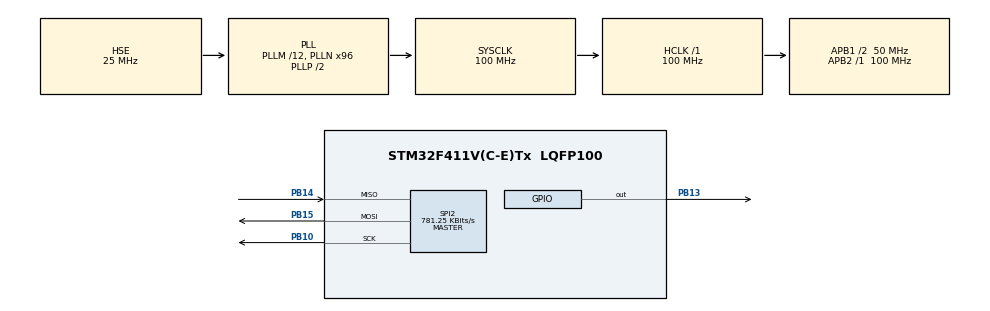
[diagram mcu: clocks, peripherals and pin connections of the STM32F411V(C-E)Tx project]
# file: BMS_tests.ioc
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Mcu.Family=STM32F4
Mcu.Name=STM32F411V(C-E)Tx
Mcu.Package=LQFP100
NVIC.PriorityGroup=NVIC_PRIORITYGROUP_4
PB10.Mode=Full_Duplex_Master
PB10.Signal=SPI2_SCK
PB13.GPIO_PuPd=GPIO_PULLUP
PB13.GPIO_Speed=GPIO_SPEED_FREQ_VERY_HIGH
PB13.PinState=GPIO_PIN_SET
PB13.Signal=GPIO_Output
PB14.Mode=Full_Duplex_Master
PB14.Signal=SPI2_MISO
PB15.Mode=Full_Duplex_Master
PB15.Signal=SPI2_MOSI
PH0\ -\ OSC_IN.Mode=HSE-External-Oscillator
PH0\ -\ OSC_IN.Signal=RCC_OSC_IN
PH1\ -\ OSC_OUT.Mode=HSE-External-Oscillator
PH1\ -\ OSC_OUT.Signal=RCC_OSC_OUT
ProjectManager.HeapSize=0x200
ProjectManager.StackSize=0x400
ProjectManager.TargetToolchain=STM32CubeIDE
RCC.48MHZClocksFreq_Value=50000000
RCC.AHBFreq_Value=100000000
RCC.APB1CLKDivider=RCC_HCLK_DIV2
RCC.APB1Freq_Value=50000000
RCC.APB1TimFreq_Value=100000000
RCC.APB2Freq_Value=100000000
RCC.APB2TimFreq_Value=100000000
RCC.CortexFreq_Value=100000000
RCC.HCLKFreq_Value=100000000
RCC.HSE_VALUE=25000000
RCC.HSI_VALUE=16000000
RCC.LSE_VALUE=32768
RCC.PLLM=12
RCC.PLLN=96
RCC.PLLSourceVirtual=RCC_PLLSOURCE_HSE
RCC.SYSCLKFreq_VALUE=100000000
RCC.SYSCLKSource=RCC_SYSCLKSOURCE_PLLCLK
RCC.VCOOutputFreq_Value=200000000
SPI2.BaudRatePrescaler=SPI_BAUDRATEPRESCALER_64
SPI2.CLKPolarity=SPI_POLARITY_LOW
SPI2.CRCCalculation=SPI_CRCCALCULATION_DISABLE
SPI2.CalculateBaudRate=781.25 KBits/s
SPI2.Direction=SPI_DIRECTION_2LINES
SPI2.FirstBit=SPI_FIRSTBIT_MSB
SPI2.Mode=SPI_MODE_MASTER
SPI2.VirtualType=VM_MASTER
board=custom

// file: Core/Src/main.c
/* USER CODE BEGIN Header */
/**
  ******************************************************************************
  * @file           : main.c
  * @brief          : Main program body
  ******************************************************************************
  * @attention
  *
  * <h2><center>&copy; Copyright (c) 2022 STMicroelectronics.
  * All rights reserved.</center></h2>
  *
  * This software component is licensed by ST under BSD 3-Clause license,
  * the "License"; You may not use this file except in compliance with the
  * License. You may obtain a copy of the License at:
  *                        opensource.org/licenses/BSD-3-Clause
  *
  ******************************************************************************
  */
/* USER CODE END Header */
#include "main.h"

/* USER CODE BEGIN Includes */
#include "math.h"
#include "string.h"
#include "stdbool.h"
/* USER CODE END Includes */

/* USER CODE BEGIN PD */
#define SEED_VALUE    0x38
#define CRC_LENGTH     6
#define FRAME_LENGTH  40
#define POLYNOM     0x59
/* USER CODE END PD */

SPI_HandleTypeDef hspi2;

/* USER CODE BEGIN PV */

HAL_StatusTypeDef status;
uint8_t dummy = 0;
static uint8_t response_arr[5];
uint8_t burst_response_arr[95];
const uint8_t crcTable[] = {
      0, 100, 200, 172, 244, 144,  60,  88, 140, 232,  68,  32, 120,  28, 176, 212,
    124,  24, 180, 208, 136, 236,  64,  36, 240, 148,  56,  92,   4,  96, 204, 168,
    248, 156,  48,  84,  12, 104, 196, 160, 116,  16, 188, 216, 128, 228,  72,  44,
    132, 224,  76,  40, 112,  20, 184, 220,   8, 108, 192, 164, 252, 152,  52,  80,
    148, 240,  92,  56,  96,   4, 168, 204,  24, 124, 208, 180, 236, 136,  36,  64,
    232, 140,  32,  68,  28, 120, 212, 176, 100,   0, 172, 200, 144, 244,  88,  60,
    108,   8, 164, 192, 152, 252,  80,  52, 224, 132,  40,  76,  20, 112, 220, 184,
     16, 116, 216, 188, 228, 128,  44,  72, 156, 248,  84,  48, 104,  12, 160, 196,
     76,  40, 132, 224, 184, 220, 112,  20, 192, 164,   8, 108,  52,  80, 252, 152,
     48,  84, 248, 156, 196, 160,  12, 104, 188, 216, 116,  16,  72,  44, 128, 228,
    180, 208, 124,  24,  64,  36, 136, 236,  56,  92, 240, 148, 204, 168,   4,  96,
    200, 172,   0, 100,  60,  88, 244, 144,  68,  32, 140, 232, 176, 212, 120,  28,
    216, 188,  16, 116,  44,  72, 228, 128,  84,  48, 156, 248, 160, 196, 104,  12,
    164, 192, 108,   8,  80,  52, 152, 252,  40,  76, 224, 132, 220, 184,  20, 112,
     32,  68, 232, 140, 212, 176,  28, 120, 172, 200, 100,   0,  88,  60, 144, 244,
     92,  56, 148, 240, 168, 204,  96,   4, 208, 180,  24, 124,  36,  64, 236, 136
};

uint8_t VCELL_EN[15], d_rdy_Vcell[15], vsum_batt1_0, data_ready_vsum, data_ready_v_battdiv, SOC, OVR_LATCH, CONF_CYCLIC_EN,
		DUTY_ON, VSUM_OV, VSUM_UV, TimedBalacc, TimedBalTimer, bal_on, eof_bal, OVR_LATCH, TCYCLE_OVFm,  sense_plus_open,
		sense_minus_open,  Otchip,  VANA_OV,  VDIG_OV,  VTREF_UV,  VTREF_OV,  VREG_UV,  VREG_OV, VCOM_OV, VCOM_UV,  wu_gpio7,
		wu_spi, wu_isoline,  wu_faulth,  wu_cyc_wup, loss_agnd, loss_dgnd, loss_cgnd, loss_gndref, TrimmCalOk,CoCouOvF,
		EoBtimeerror, GPI_fastchg_OT[10], GPI_OPEN[10],VBAT_COMP_BIST_FAIL, VREG_COMP_BIST_FAIL, VCOM_COMP_BIST_FAIL,
		VTREF_COMP_BIST_FAIL, BAL_SHORT[15], EEPROM_CRC_ERR_CAL_FF, EEPROM_DWNLD_DONE, HWSC_DONE,  VBAT_OPEN,  CELL_OPEN[15], EEPROM_CRC_ERR_SECT_0,
		Comm_timeout_flt, EEPROM_CRC_ERR_CAL_RAM, RAM_CRC_ERR, VCELL_UV[15], VBATT_WRN_OV, VBATT_WRN_UV, VBATTCRIT_UV, VSUM_UV,
		VCELL_OV[15], bal_on, eof_bal, VBATTCRIT_OV, VSUM_OV, GPIO_OT[10], GPIO_UT[10], GPOon[10], VCELL_BAL_UV[15],
		Fault_L_line_status, GPOshort[10], GPIO_BIST_FAIL, HeartBeat_fault, FaultHline_fault, FaultH_EN, HeartBeat_En,
		curr_sense_ovc_norm, OSCFail, clk_mon_en, clk_mon_init_done, CoulombCounter_en, CoCouOvF, curr_sense_ovc_sleep,
		GPIO3_OT, d_rdy_gpio3, GPIO4_OT, d_rdy_gpio4, GPIO5_OT, d_rdy_gpio5, GPIO6_OT, d_rdy_gpio6, GPIO7_OT, d_rdy_gpio7,
		GPIO8_OT, d_rdy_gpio8, GPIO9_OT, d_rdy_gpio9, TrimmCalOk, d_rdy_vtref, GPIO3_UT, GPIO4_UT, GPIO5_UT, GPIO6_UT, GPIO7_UT,
		GPIO8_UT, GPIO9_UT, bal_on, eof_bal, OTchip, TempChip, BAL_OPEN[15];

uint16_t VCell[15], VBATT_DIV, MUX_BIST_FAIL, HeartBeatCycle, BIST_BAL_COMP_HS_FAIL, BIST_BAL_COMP_LS_FAIL,
		 OPEN_BIST_FAIL, CoulombCntTime, CoulombCounter_msb, CoulombCounter_lsb, GPIO4_MEAS,
		 GPIO3_MEAS, GPIO5_MEAS, GPIO6_MEAS, GPIO7_MEAS, GPIO8_MEAS, GPIO9_MEAS, VTREF_MEAS;
uint32_t vsum_batt19_2, CUR_INST_calib, CUR_INST_synch, CUR_INST_calib;

/* USER CODE END PV */

void SystemClock_Config(void);
static void MX_GPIO_Init(void);
static void MX_SPI2_Init(void);
/* USER CODE BEGIN PFP */
void L9963_CrcCalc8bitLookupTab (uint64_t *);
uint16_t L9963_CrcVer8bitLookupTab (uint64_t *);
void readBurst0x78 (void);
void readBurst0x7A (void);
void readBurst0x7B (void);
void singleFrameTransaction(char *,char *,char *,char *,char *,char *, bool);
void configRegADCV_CONV(char *,char *,char *,char *,char *,char *,char *,char *,char *,char *,char *);
void configRegNCYCLE_PROG_1(char *,char *,char *,char *,char *,char *,char *,char *,char *,char *);
void configRegNCYCLE_PROG_2(char *,char *,char *,char *,char *,char *,char *);
void balanceCells();
/* USER CODE END PFP */

int main(void)
{
  /* USER CODE BEGIN 1 */
	HAL_GPIO_WritePin(GPIOB, GPIO_PIN_13, GPIO_PIN_SET);
  /* USER CODE END 1 */

  /* MCU Configuration--------------------------------------------------------*/

  /* Reset of all peripherals, Initializes the Flash interface and the Systick. */
  HAL_Init();

  /* Configure the system clock */
  SystemClock_Config();

  /* Initialize all configured peripherals */
  MX_GPIO_Init();
  MX_SPI2_Init();

  /* Infinite loop */
  /* USER CODE BEGIN WHILE */
  while (1)
  {
	  //---------------------------SLEEP-----------------------------------------

	  singleFrameTransaction("1","0","00000","0000000","00","000000000000000000",false);
	  /*
	  char PA[2] = "1"; // 0 = MISO answer ; 1 = MOSI command
	  char RW[2] = "0"; // 0 = read ; 1 = write
	  char DevID[6] = "00000";
	  char Addr[8] = "0000000";
	  char GSW[3] = "00"; // 0x = ok ; 1x = internal failure detected
	  char data[19] = "000000000000000000"; //VCELL_EN 1,2,13,14
	  char CRC_code[7]="000000";
	  char frame[41];
	  char frame_a[41];

	  strcpy(frame, PA);
	  strcat(frame,RW);
	  strcat(frame,DevID);
	  strcat(frame,Addr);
	  strcat(frame,GSW);
	  strcat(frame,data);
	  strcat(frame,CRC_code);
	  strcpy(frame_a,frame);
	  uint8_t command_data_arr[5];

	  for (int i=0;i<5;i++){
	     command_data_arr[i]=0;
	     for(int j=7;j>=0;j--){
	         if(frame_a[i*8+j]=='1')
	            command_data_arr[i]=command_data_arr[i] + pow(2,7-j);
	         }
	  }

	  uint64_t command_data = 0;
	  for (int i=39;i>=0;i--){
		  command_data = command_data + (frame[i]-48)*pow(2,39-i);
	  }
	  L9963_CrcCalc8bitLookupTab(&command_data);
	  command_data_arr[4]=command_data_arr[4] | (uint8_t)(command_data & 0b00111111);

	  HAL_GPIO_WritePin(GPIOB, GPIO_PIN_13, GPIO_PIN_RESET); // NCS low
	  status = HAL_SPI_TransmitReceive(&hspi2, command_data_arr, response_arr, 5, HAL_MAX_DELAY);
	  while(HAL_SPI_GetState(&hspi2) != HAL_SPI_STATE_READY){};	//wait for transaction to end
	  //HAL_Delay(5);
	  HAL_GPIO_WritePin(GPIOB, GPIO_PIN_13, GPIO_PIN_SET); // NCS High
	  */

	  //------------------------------INIT---------------------------------------------------
	  singleFrameTransaction("1","1","00000","0000001","00","000010000000000010",false);

	  //--------------------------NORMAL--------------------------------------------
	  // READ DEV_GEN_CFG:
	  singleFrameTransaction("1","0","00001","0000001","00","000000000000000000",true);
	  dummy+=1;
	  // ENABLE CELLS:
	  singleFrameTransaction("1","1","00001","0011100","00","000011000000000011",true);
	  dummy+=1;

	  // PERFORM CYCLIC ADC VOLTAGE CONVERSION:

	  configRegNCYCLE_PROG_1("10","000","000","000","1","1","1","0","0","0");
	  dummy+=1;
	  configRegNCYCLE_PROG_2("1","0","000","000","001","011","001");
	  dummy+=1;
	  configRegADCV_CONV("0","0","0","000","0","0","0","0","0","011","1");
	  dummy+=1;
	  configRegADCV_CONV("0","0","1","000","0","0","0","0","0","011","1");
	  dummy+=1;

	  /*
	  singleFrameTransaction("1","1","00001","0001110","00","010000000000010000",true);
	  dummy+=1;
	  singleFrameTransaction("1","1","00001","0001111","00","100000000000000000",true);
	  dummy+=1;
	  	  */

	  while(1){
	  // READ BURSTS
	  HAL_Delay(1000);
	  readBurst0x78();
	  readBurst0x7A();
	  readBurst0x7B();
	  //configRegADCV_CONV("0","1","1","000","0","0","0","0","0","011","1");
	  dummy+=1; // <--optional breakpoint here
};
    /* USER CODE END WHILE */

  }
}

void SystemClock_Config(void)
{
  RCC_OscInitTypeDef RCC_OscInitStruct = {0};
  RCC_ClkInitTypeDef RCC_ClkInitStruct = {0};

  /** Configure the main internal regulator output voltage
  */
  __HAL_RCC_PWR_CLK_ENABLE();
  __HAL_PWR_VOLTAGESCALING_CONFIG(PWR_REGULATOR_VOLTAGE_SCALE1);
  /** Initializes the RCC Oscillators according to the specified parameters
  * in the RCC_OscInitTypeDef structure.
  */
  RCC_OscInitStruct.OscillatorType = RCC_OSCILLATORTYPE_HSE;
  RCC_OscInitStruct.HSEState = RCC_HSE_ON;
  RCC_OscInitStruct.PLL.PLLState = RCC_PLL_ON;
  RCC_OscInitStruct.PLL.PLLSource = RCC_PLLSOURCE_HSE;
  RCC_OscInitStruct.PLL.PLLM = 12;
  RCC_OscInitStruct.PLL.PLLN = 96;
  RCC_OscInitStruct.PLL.PLLP = RCC_PLLP_DIV2;
  RCC_OscInitStruct.PLL.PLLQ = 4;
  if (HAL_RCC_OscConfig(&RCC_OscInitStruct) != HAL_OK)
  {
    Error_Handler();
  }
  /** Initializes the CPU, AHB and APB buses clocks
  */
  RCC_ClkInitStruct.ClockType = RCC_CLOCKTYPE_HCLK|RCC_CLOCKTYPE_SYSCLK
                              |RCC_CLOCKTYPE_PCLK1|RCC_CLOCKTYPE_PCLK2;
  RCC_ClkInitStruct.SYSCLKSource = RCC_SYSCLKSOURCE_PLLCLK;
  RCC_ClkInitStruct.AHBCLKDivider = RCC_SYSCLK_DIV1;
  RCC_ClkInitStruct.APB1CLKDivider = RCC_HCLK_DIV2;
  RCC_ClkInitStruct.APB2CLKDivider = RCC_HCLK_DIV1;

  if (HAL_RCC_ClockConfig(&RCC_ClkInitStruct, FLASH_LATENCY_3) != HAL_OK)
  {
    Error_Handler();
  }
}

static void MX_SPI2_Init(void)
{

  /* SPI2 parameter configuration*/
  hspi2.Instance = SPI2;
  hspi2.Init.Mode = SPI_MODE_MASTER;
  hspi2.Init.Direction = SPI_DIRECTION_2LINES;
  hspi2.Init.DataSize = SPI_DATASIZE_8BIT;
  hspi2.Init.CLKPolarity = SPI_POLARITY_LOW;
  hspi2.Init.CLKPhase = SPI_PHASE_1EDGE;
  hspi2.Init.NSS = SPI_NSS_SOFT;
  hspi2.Init.BaudRatePrescaler = SPI_BAUDRATEPRESCALER_64;
  hspi2.Init.FirstBit = SPI_FIRSTBIT_MSB;
  hspi2.Init.TIMode = SPI_TIMODE_DISABLE;
  hspi2.Init.CRCCalculation = SPI_CRCCALCULATION_DISABLE;
  hspi2.Init.CRCPolynomial = 10;
  if (HAL_SPI_Init(&hspi2) != HAL_OK)
  {
    Error_Handler();
  }

}

static void MX_GPIO_Init(void)
{
  GPIO_InitTypeDef GPIO_InitStruct = {0};

  /* GPIO Ports Clock Enable */
  __HAL_RCC_GPIOH_CLK_ENABLE();
  __HAL_RCC_GPIOB_CLK_ENABLE();

  /*Configure GPIO pin Output Level */
  HAL_GPIO_WritePin(GPIOB, GPIO_PIN_13, GPIO_PIN_SET);

  /*Configure GPIO pin : PB13 */
  GPIO_InitStruct.Pin = GPIO_PIN_13;
  GPIO_InitStruct.Mode = GPIO_MODE_OUTPUT_PP;
  GPIO_InitStruct.Pull = GPIO_PULLUP;
  GPIO_InitStruct.Speed = GPIO_SPEED_FREQ_VERY_HIGH;
  HAL_GPIO_Init(GPIOB, &GPIO_InitStruct);

}

/* USER CODE BEGIN 4 */

void singleFrameTransaction(char PA[],char RW[],char DevID[],char Addr[],char GSW[],char data[], bool acquireResponse){
	  char frame[41];char CRC_code[7]="000000";
	  strcpy(frame, PA);
	  strcat(frame,RW);
	  strcat(frame,DevID);
	  strcat(frame,Addr);
	  strcat(frame,GSW);
	  strcat(frame,data);
	  strcat(frame,CRC_code);
	  uint8_t command_data_arr[5];

	  for (int i=0;i<5;i++){
	     command_data_arr[i]=0;
	     for(int j=7;j>=0;j--){
	         if(frame[i*8+j]=='1')
	            command_data_arr[i]=command_data_arr[i] + pow(2,7-j);
	         }
	  }

	  uint64_t command_data = 0;
	  for (int i=39;i>=0;i--){
		  command_data = command_data + (frame[i]-48)*pow(2,39-i);
	  }
	  L9963_CrcCalc8bitLookupTab(&command_data);
	  command_data_arr[4]=command_data_arr[4] | (uint8_t)(command_data & 0b00111111);

	  HAL_GPIO_WritePin(GPIOB, GPIO_PIN_13, GPIO_PIN_RESET); // NCS low
	  status = HAL_SPI_TransmitReceive(&hspi2, command_data_arr, response_arr, 5, HAL_MAX_DELAY);
	  while(HAL_SPI_GetState(&hspi2) != HAL_SPI_STATE_READY){};	//wait for transaction to end
	  HAL_GPIO_WritePin(GPIOB, GPIO_PIN_13, GPIO_PIN_SET); // NCS High

	  if(acquireResponse){
		  //use dummy command (read DEV_GEN_CFG reg) to acquire the out of frame response to the previous command
		  command_data_arr[0]=0b10000010;
		  command_data_arr[1]=0b00000100;
		  command_data_arr[2]=0b00000000;
		  command_data_arr[3]=0b00000000;
		  command_data_arr[4]=0b00010111;

		  HAL_GPIO_WritePin(GPIOB, GPIO_PIN_13, GPIO_PIN_RESET); // NCS low
		  status = HAL_SPI_TransmitReceive(&hspi2, command_data_arr, response_arr, 5, HAL_MAX_DELAY);
		  while(HAL_SPI_GetState(&hspi2) != HAL_SPI_STATE_READY){};	//wait for transaction to end
		  HAL_GPIO_WritePin(GPIOB, GPIO_PIN_13, GPIO_PIN_SET); // NCS High
	  }
}

void configRegADCV_CONV(char ADC_CROSS_CHECK[],char SOC[],char CONF_CYCLIC_EN[],char ADC_FILTER_SOC[],char GPIO_CONV[],
		char GPIO_TERM_CONV[],char CELL_TERM_CONV[],char BAL_TERM_CONV[],char HWSC[],char TCYCLE[],char CYCLIC_CONTINOUS[]){
	char data[19];
	strcpy(data,ADC_CROSS_CHECK);
	strcat(data,"0"); //TCYCLE_OVF
	strcat(data,SOC);
	strcat(data,"0"); //OVR_LATCH
	strcat(data,CONF_CYCLIC_EN);
	strcat(data,"0"); //DUTY_ON
	strcat(data,ADC_FILTER_SOC);
	strcat(data,GPIO_CONV);
	strcat(data,GPIO_TERM_CONV);
	strcat(data,CELL_TERM_CONV);
	strcat(data,BAL_TERM_CONV);
	strcat(data,HWSC);
	strcat(data,TCYCLE);
	strcat(data,CYCLIC_CONTINOUS);

	singleFrameTransaction("1","1","00001","0001101","00",data,true);

}

void configRegNCYCLE_PROG_1(char T_CELL_SET[],char NCYCLE_GPIO_TERM[],char NCYCLE_CELL_TERM[],char NCYCLE_BAL_TERM[],char BAL_TIM_AUTO_PAUSE[],
		char BAL_AUTO_PAUSE[],char CYCLIC_UPDATE[], char CROSS_ODD_EVEN_CELL[], char PCB_open_en_odd_curr[], char PCB_open_en_even_curr[]){
	char data[19];
	strcpy(data,T_CELL_SET);
	strcat(data,NCYCLE_GPIO_TERM);
	strcat(data,NCYCLE_CELL_TERM);
	strcat(data,NCYCLE_BAL_TERM);
	strcat(data,BAL_TIM_AUTO_PAUSE);
	strcat(data,BAL_AUTO_PAUSE);
	strcat(data,CYCLIC_UPDATE);
	strcat(data,CROSS_ODD_EVEN_CELL);
	strcat(data,PCB_open_en_odd_curr);
	strcat(data,PCB_open_en_even_curr);
	strcat(data,"0"); //NOREG0

	singleFrameTransaction("1","1","00001","0001110","00",data,true);
}

void configRegNCYCLE_PROG_2(char VTREF_EN[],char VTREF_DYN_EN[],char NCYCLE_GPIO[],char NCYCLE_HWSC[], char ADC_FILTER_CYCLE[], char TCYCLE_SLEEP[],
		char ADC_FILTER_SLEEP[]){
	char data[19];
	strcpy(data,VTREF_EN);
	strcat(data,VTREF_DYN_EN);
	strcat(data,NCYCLE_GPIO);
	strcat(data,NCYCLE_HWSC);
	strcat(data,"0"); //NOREG9
	strcat(data,ADC_FILTER_CYCLE);
	strcat(data,TCYCLE_SLEEP);
	strcat(data,ADC_FILTER_SLEEP);

	singleFrameTransaction("1","1","00001","0001111","00",data,true);
}

void readBurst0x78 (){
	//FOR VOLTAGE CONVERSIONS CHECK DOCUMENTATION -> TABLE 4.5.2

	uint8_t command_data_arr[5]; //initial burst command data to be sent by MCU, 8 bit array form
	uint64_t command_data = 0; //initial burst command data to be sent by MCU
	uint8_t nofFrames = 18; //number of frames received from burst command
	uint8_t data_burst_arr[nofFrames*5]; //dummy data sent by MCU during burst frame receival
	for(int i=0;i<nofFrames*5;i++) data_burst_arr[i]=0; //all zeroes as per manufacturer documentation
	data_burst_arr[nofFrames*5-5]=0b10000010;
	data_burst_arr[nofFrames*5-4]=0b00000100;
	data_burst_arr[nofFrames*5-3]=0b00000000;
	data_burst_arr[nofFrames*5-2]=0b00000000;
	data_burst_arr[nofFrames*5-1]=0b00010111;
	uint8_t burst_response_arr[nofFrames*5]; // data received by MCU during burst response

	char PA[2] = "1"; // 0 = MISO answer ; 1 = MOSI command
    char RW[2] = "0"; // 0 = read ; 1 = write
    char DevID[6] = "00001";
	char Addr[8] = "1111000"; 	// 0x78 burst command
	char GSW[3] = "00"; // 0x = ok ; 1x = internal failure detected
	char data[19] = "111111111111111111";
	char CRC_code[7] = "000000";
	char frame[41];

	strcpy(frame, PA);
	strcat(frame,RW);
	strcat(frame,DevID);
	strcat(frame,Addr);
	strcat(frame,GSW);
	strcat(frame,data);
	strcat(frame,CRC_code);

    //convert char array to 8 bit number array:
    for (int i=4;i>=0;i--){
    	command_data_arr[i]=0;
    	for(int j=7;j>=0;j--){
    		command_data_arr[i]=command_data_arr[i] + (frame[i*8+j]-48)*pow(2,7-j);
    	}
    }
    //convert char array to number:
    for (int i=39;i>=0;i--){
    	command_data = command_data + (frame[i]-48)*pow(2,39-i);
    }

    L9963_CrcCalc8bitLookupTab(&command_data); //compute CRC for command
    command_data_arr[4]=command_data_arr[4] | (uint8_t)(command_data & 0b00111111);

    uint8_t nOfTrials = 0;
    TRANSACTION: //for goto instruction in case there is a problem with sent/received data
	nOfTrials+=1;

    HAL_GPIO_WritePin(GPIOB, GPIO_PIN_13, GPIO_PIN_RESET); // NCS low
    status = HAL_SPI_TransmitReceive(&hspi2, command_data_arr, response_arr, 5, HAL_MAX_DELAY);
    while(HAL_SPI_GetState(&hspi2) != HAL_SPI_STATE_READY){};	//wait for transaction to end
    HAL_GPIO_WritePin(GPIOB, GPIO_PIN_13, GPIO_PIN_SET); // NCS High

    HAL_Delay(4);

    HAL_GPIO_WritePin(GPIOB, GPIO_PIN_13, GPIO_PIN_RESET); // NCS low
    status = HAL_SPI_TransmitReceive(&hspi2, data_burst_arr, burst_response_arr, nofFrames*5, HAL_MAX_DELAY);
    while(HAL_SPI_GetState(&hspi2) != HAL_SPI_STATE_READY){};	//wait for transaction to end
    HAL_GPIO_WritePin(GPIOB, GPIO_PIN_13, GPIO_PIN_SET); // NCS High

    uint64_t frame_check = ((uint64_t)burst_response_arr[0]<<32) | ((uint64_t)burst_response_arr[1]<<24)|
    					   ((uint64_t)burst_response_arr[2]<<16) | ((uint64_t)burst_response_arr[3]<<8) | (uint64_t)burst_response_arr[4];

    //check first frame (for special frames - documentation 4.2.4.4)
    if((frame_check == 0xC1FCFFFD08 || //CRC error frame
        frame_check == 0xC1FCFFFCDE || //Busy frame
	    frame_check == 0xC1FCFFFC87 || //Timeout frame
	   frame_check == 0xC1FCFFFC6C) && //Not Expected frame
	   nOfTrials<10)
    goto TRANSACTION; //repeat process in case of error

    //check CRC for every frame from burst response:
    for(int i=0; i<nofFrames; i++){
    	frame_check = ((uint64_t)burst_response_arr[0]<<32) | ((uint64_t)burst_response_arr[1]<<24)|
    	    		  ((uint64_t)burst_response_arr[2]<<16) | ((uint64_t)burst_response_arr[3]<<8) | (uint64_t)burst_response_arr[4];
    	if(L9963_CrcVer8bitLookupTab(&frame_check)==0 && nOfTrials<10) goto TRANSACTION; //repeat process in case of error
    }

    /*
    "burst_response_arr" is an 8bit array containing all the burst_response_arr received from a burst command,
    stored as bytes one after the other
    example: 0x78 command --> 18 burst_response_arr response --> 720 bits/90 bytes
            frame 1: burst_response_arr[0] --> burst_response_arr[4]
            frame 1 actual data: burst_response_arr[2] (bit 17->bit 10), burst_response_arr[3] (bit 9->bit 2),
                                 first 2 MSB's of burst_response_arr[4] (bit 1->bit 0)
            frame 2: burst_response_arr[5] --> burst_response_arr[9]
            frame 2 actual data: burst_response_arr[7], burst_response_arr[8], first 2 MSB's of burst_response_arr[9]
            .
            .
            .
            frame 18: burst_response_arr[85] --> burst_response_arr[89]
            frame 18 actual data: frame[87],frame[88], first 2 MSB's of burst_response_arr[89]
    */
    for(int i=1;i<=14;i++){
        VCELL_EN[i]=burst_response_arr[(i-1)*5+2] >> 7;

        d_rdy_Vcell[i]=(burst_response_arr[(i-1)*5+2] >> 6) & 1; //&0b00000001, extract only LSB

        VCell[i]=(((burst_response_arr[(i-1)*5+2] & 0b00111111) << 8) | burst_response_arr[(i-1)*5+3]) << 2
                    | (burst_response_arr[(i-1)*5+4]>>6);
    }

    vsum_batt19_2 = (((burst_response_arr[(15-1)*5+2] << 8) | burst_response_arr[(15-1)*5+3]) << 2) | (burst_response_arr[(15-1)*5+4]>>6);

    vsum_batt1_0 = burst_response_arr[(16-1)*5+2] >> 6;
    VBATT_DIV = (((burst_response_arr[(16-1)*5+2] & 0b00111111) << 8 ) | burst_response_arr[(16-1)*5+3]) << 2 | (burst_response_arr[(16-1)*5+4]>>6);

    data_ready_vsum = burst_response_arr[(17-1)*5+2] >>7;
    data_ready_v_battdiv = (burst_response_arr[(17-1)*5+2] >> 6) & 1;
    SOC = (burst_response_arr[(17-1)*5+2] >> 5) & 1;
    OVR_LATCH = (burst_response_arr[(17-1)*5+2] >> 4) & 1;
    CONF_CYCLIC_EN = (burst_response_arr[(17-1)*5+2] >> 3) & 1;
    DUTY_ON = (burst_response_arr[(17-1)*5+2] >> 2) & 1;
    VSUM_OV = (burst_response_arr[(17-1)*5+2] >> 1) & 1;
    VSUM_UV = burst_response_arr[(17-1)*5+2]  & 1;
    TimedBalacc = burst_response_arr[(17-1)*5+3] >> 7;
    TimedBalTimer = burst_response_arr[(17-1)*5+3] & 0b01111111;
    bal_on = burst_response_arr[(17-1)*5+4] >> 7;
    eof_bal = (burst_response_arr[(17-1)*5+4] >> 6) & 1;

    CUR_INST_calib = (((burst_response_arr[(18-1)*5+2] <<8) | burst_response_arr[(18-1)*5+3]) << 2) | (burst_response_arr[(18-1)*5+4]>>6);

}

void readBurst0x7A (){
	uint8_t command_data_arr[5]; //initial burst command data to be sent by MCU, 8 bit array form
	uint64_t command_data = 0; //initial burst command data to be sent by MCU
	uint8_t nofFrames = 13; //number of frames received from burst command
	uint8_t data_burst_arr[nofFrames*5]; //dummy data sent by MCU during burst frame receival
	for(int i=0;i<nofFrames*5;i++) data_burst_arr[i]=0; //all zeroes as per manufacturer documentation
	data_burst_arr[nofFrames*5-5]=0b10000010;
	data_burst_arr[nofFrames*5-4]=0b00000100;
	data_burst_arr[nofFrames*5-3]=0b00000000;
	data_burst_arr[nofFrames*5-2]=0b00000000;
	data_burst_arr[nofFrames*5-1]=0b00010111;
	uint8_t burst_response_arr[nofFrames*5]; // data received by MCU during burst response

	char PA[2] = "1"; // 0 = MISO answer ; 1 = MOSI command
    char RW[2] = "0"; // 0 = read ; 1 = write
    char DevID[6] = "00001";
	char Addr[8] = "1111010"; 	// 0x7A burst command
	char GSW[3] = "00"; // 0x = ok ; 1x = internal failure detected
	char data[19] = "111111111111111111";
	char CRC_code[7] = "000000";
	char frame[41];

	strcpy(frame, PA);
	strcat(frame,RW);
	strcat(frame,DevID);
	strcat(frame,Addr);
	strcat(frame,GSW);
	strcat(frame,data);
	strcat(frame,CRC_code);

    //convert char array to 8 bit number array:
    for (int i=4;i>=0;i--){
    	command_data_arr[i]=0;
    	for(int j=7;j>=0;j--){
    		command_data_arr[i]=command_data_arr[i] + (frame[i*8+j]-48)*pow(2,7-j);
    	}
    }
    //convert char array to number:
    for (int i=39;i>=0;i--){
    	command_data = command_data + (frame[i]-48)*pow(2,39-i);
    }

    L9963_CrcCalc8bitLookupTab(&command_data); //compute CRC for command
    command_data_arr[4]=command_data_arr[4] | (uint8_t)(command_data & 0b00111111);

    uint8_t nOfTrials=0;
    TRANSACTION: //for goto instruction in case there is a problem with sent/received data
	nOfTrials +=1;

    HAL_GPIO_WritePin(GPIOB, GPIO_PIN_13, GPIO_PIN_RESET); // NCS low
    status = HAL_SPI_TransmitReceive(&hspi2, command_data_arr, response_arr, 5, HAL_MAX_DELAY);
    while(HAL_SPI_GetState(&hspi2) != HAL_SPI_STATE_READY){};	//wait for transaction to end
    HAL_GPIO_WritePin(GPIOB, GPIO_PIN_13, GPIO_PIN_SET); // NCS High

    HAL_Delay(4);

    HAL_GPIO_WritePin(GPIOB, GPIO_PIN_13, GPIO_PIN_RESET); // NCS low
    status = HAL_SPI_TransmitReceive(&hspi2, data_burst_arr, burst_response_arr, nofFrames*5, HAL_MAX_DELAY);
    while(HAL_SPI_GetState(&hspi2) != HAL_SPI_STATE_READY){};	//wait for transaction to end
    HAL_GPIO_WritePin(GPIOB, GPIO_PIN_13, GPIO_PIN_SET); // NCS High

    uint64_t frame_check = ((uint64_t)burst_response_arr[0]<<32) | ((uint64_t)burst_response_arr[1]<<24)|
    					   ((uint64_t)burst_response_arr[2]<<16) | ((uint64_t)burst_response_arr[3]<<8) | (uint64_t)burst_response_arr[4];

    //check first frame (for special frames - documentation 4.2.4.4)
    if((frame_check == 0xC1FCFFFD08 || //CRC error frame
        frame_check == 0xC1FCFFFCDE || //Busy frame
	    frame_check == 0xC1FCFFFC87 || //Timeout frame
	    frame_check == 0xC1FCFFFC6C) && //Not Expected frame
	   nOfTrials<10)
    goto TRANSACTION; //repeat process in case of error

    //check CRC for every frame from burst response:
    for(int i=0; i<nofFrames; i++){
    	frame_check = ((uint64_t)burst_response_arr[0]<<32) | ((uint64_t)burst_response_arr[1]<<24)|
    	    		  ((uint64_t)burst_response_arr[2]<<16) | ((uint64_t)burst_response_arr[3]<<8) | (uint64_t)burst_response_arr[4];
    	if(L9963_CrcVer8bitLookupTab(&frame_check)==0 && nOfTrials<10) goto TRANSACTION; //repeat process in case of error
    }

    /*
    "burst_response_arr" is an 8bit array containing all the burst_response_arr received from a burst command,
    stored as bytes one after the other
    example: 0x78 command --> 18 burst_response_arr response --> 720 bits/90 bytes
            frame 1: burst_response_arr[0] --> burst_response_arr[4]
            frame 1 actual data: burst_response_arr[2] (bit 17->bit 10), burst_response_arr[3] (bit 9->bit 2),
                                 first 2 MSB's of burst_response_arr[4] (bit 1->bit 0)
            frame 2: burst_response_arr[5] --> burst_response_arr[9]
            frame 2 actual data: burst_response_arr[7], burst_response_arr[8], first 2 MSB's of burst_response_arr[9]
            .
            .
            .
            frame 18: burst_response_arr[85] --> burst_response_arr[89]
            frame 18 actual data: frame[87],frame[88], first 2 MSB's of burst_response_arr[89]
    */
    for (int i = 1; i <= 2; i++) {
        BAL_OPEN[i] = burst_response_arr[14] >> (8 - i) & 1;
        BAL_SHORT[i] = burst_response_arr[19] >> (8 - i) & 1;
        CELL_OPEN[i - 1] = burst_response_arr[24] >> (8 - i) & 1;
    }

    for (int i = 3; i <= 10; i++) {
        BAL_OPEN[i] = burst_response_arr[13] >> (i - 3) & 1;
        BAL_SHORT[i] = burst_response_arr[18] >> (i - 3) & 1;
        CELL_OPEN[i - 1] = burst_response_arr[23] >> (i - 3) & 1;
        if (i > 5)
            GPI_fastchg_OT[i - 2] = burst_response_arr[8] >> (i - 3) & 1;
    }

    GPI_fastchg_OT[9] = burst_response_arr[7] & 1;

    for (int i = 11; i <= 14; i++) {
        BAL_OPEN[i] = burst_response_arr[12] >> (i - 11) & 1;
        BAL_SHORT[i] = burst_response_arr[17] >> (i - 11) & 1;
        CELL_OPEN[i - 1] = burst_response_arr[22] >> (i - 11) & 1;
    }

    CELL_OPEN[14] = burst_response_arr[22] >> 4 & 1;

    OVR_LATCH = burst_response_arr[2] >> 7 & 1;
    TCYCLE_OVFm = burst_response_arr[2] >> 6 & 1;
    sense_plus_open = burst_response_arr[2] >> 5 & 1;
    sense_minus_open = burst_response_arr[2] >> 4 & 1;
    Otchip = burst_response_arr[2] >> 3 & 1;
    VANA_OV = burst_response_arr[2] >> 2 & 1;
    VDIG_OV = burst_response_arr[2] >> 1 & 1;
    VTREF_UV = burst_response_arr[2] & 1;
    VTREF_OV = burst_response_arr[3] >> 7 & 1;
    VREG_UV = burst_response_arr[3] >> 6 & 1;
    VREG_OV = burst_response_arr[3] >> 5 & 1;
    VCOM_OV = burst_response_arr[3] >> 4 & 1;
    VCOM_UV = burst_response_arr[3] >> 3 & 1;
    wu_gpio7 = burst_response_arr[3] >> 2 & 1;
    wu_spi = burst_response_arr[3] >> 1 & 1;
    wu_isoline = burst_response_arr[3] & 1;
    wu_faulth = burst_response_arr[4] >> 6 & 1;
    wu_cyc_wup = burst_response_arr[4] >> 7 & 1;

    loss_agnd = burst_response_arr[7] >> 7 & 1;
    loss_dgnd = burst_response_arr[7] >> 6 & 1;
    loss_cgnd = burst_response_arr[7] >> 5 & 1;
    loss_gndref = burst_response_arr[7] >> 4 & 1;
    TrimmCalOk = burst_response_arr[7] >> 3 & 1;
    CoCouOvF = burst_response_arr[7] >> 2 & 1;
    EoBtimeerror = burst_response_arr[7] >> 1 & 1;
    GPI_OPEN[9] = burst_response_arr[(2 - 1) * 5 + 3] >> 1 & 1;
    GPI_OPEN[8] = burst_response_arr[(2 - 1) * 5 + 3] & 1;
    GPI_OPEN[7] = burst_response_arr[(2 - 1) * 5 + 4] >> 6 & 1;
    GPI_OPEN[6] = burst_response_arr[(2 - 1) * 5 + 4] >> 7 & 1;

    GPI_OPEN[5] = burst_response_arr[12] >> 7 & 1;
    GPI_OPEN[4] = burst_response_arr[12] >> 6 & 1;
    GPI_OPEN[3] = burst_response_arr[12] >> 5 & 1;
    EEPROM_DWNLD_DONE = burst_response_arr[12] >> 4 & 1;

    VBAT_COMP_BIST_FAIL = burst_response_arr[(4 - 1) * 5 + 2] >> 7 & 1;
    VREG_COMP_BIST_FAIL = burst_response_arr[(4 - 1) * 5 + 2] >> 6 & 1;
    VCOM_COMP_BIST_FAIL = burst_response_arr[(4 - 1) * 5 + 2] >> 5 & 1;
    VTREF_COMP_BIST_FAIL = burst_response_arr[(4 - 1) * 5 + 2] >> 4 & 1;

    EEPROM_CRC_ERR_CAL_FF = burst_response_arr[(5 - 1) * 5 + 2] >> 7 & 1;
    HWSC_DONE = burst_response_arr[(5 - 1) * 5 + 2] >> 6 & 1;
    VBAT_OPEN = burst_response_arr[(5 - 1) * 5 + 2] >> 5 & 1;

    for (int i = 1; i <= 2; i++) {
        VCELL_UV[i] = burst_response_arr[(6 - 1) * 5 + 4] >> (8 - i) & 1;
        VCELL_OV[i] = burst_response_arr[(7 - 1) * 5 + 4] >> (8 - i) & 1;
        VCELL_BAL_UV[i] = burst_response_arr[(9 - 1) * 5 + 4] >> (8 - i) & 1;
        GPIO_UT[i + 2] = burst_response_arr[(8 - 1) * 5 + 4] >> (8 - i) & 1;
    }

    for (int i = 3; i <= 10; i++) {
        VCELL_UV[i] = burst_response_arr[(6 - 1) * 5 + 3] >> (i - 3) & 1;
        VCELL_OV[i] = burst_response_arr[(7 - 1) * 5 + 3] >> (i - 3) & 1;
        VCELL_BAL_UV[i] = burst_response_arr[(9 - 1) * 5 + 3] >> (i - 3) & 1;

        if (i <= 7)
            GPIO_UT[i + 2] = burst_response_arr[(8 - 1) * 5 + 3] >> (i - 3) & 1;
        else
            GPIO_OT[i - 5] = burst_response_arr[(8 - 1) * 5 + 3] >> (i - 3) & 1;
    }

    for (int i = 11; i <= 14; i++) {
        VCELL_UV[i] = burst_response_arr[(6 - 1) * 5 + 2] >> (i - 11) & 1;
        VCELL_OV[i] = burst_response_arr[(7 - 1) * 5 + 2] >> (i - 11) & 1;
        VCELL_BAL_UV[i] = burst_response_arr[(9 - 1) * 5 + 2] >> (i - 11) & 1;
        GPIO_OT[i - 5] = burst_response_arr[(8 - 1) * 5 + 2] >> (i - 11) & 1;
    }

    EEPROM_CRC_ERR_SECT_0 = burst_response_arr[(6 - 1) * 5 + 2] >> 7 & 1;
    Comm_timeout_flt = burst_response_arr[(6 - 1) * 5 + 2] >> 6 & 1;
    EEPROM_CRC_ERR_CAL_RAM = burst_response_arr[(6 - 1) * 5 + 2] >> 5 & 1;
    RAM_CRC_ERR = burst_response_arr[(6 - 1) * 5 + 2] >> 4 & 1;

    VBATT_WRN_OV = burst_response_arr[(7 - 1) * 5 + 2] >> 7 & 1;
    VBATT_WRN_UV = burst_response_arr[(7 - 1) * 5 + 2] >> 6 & 1;
    VBATTCRIT_UV = burst_response_arr[(7 - 1) * 5 + 2] >> 5 & 1;
    VSUM_UV = burst_response_arr[(7 - 1) * 5 + 2] >> 4 & 1;

    bal_on = burst_response_arr[(8 - 1) * 5 + 2] >> 7 & 1;
    eof_bal = burst_response_arr[(8 - 1) * 5 + 2] >> 6 & 1;
    VBATTCRIT_OV = burst_response_arr[(8 - 1) * 5 + 2] >> 5 & 1;
    VSUM_OV = burst_response_arr[(8 - 1) * 5 + 2] >> 4 & 1;

    for (int i = 17; i > 13; i--) {
        GPOon[i - 11] = burst_response_arr[(9 - 1) * 5 + 2] >> (i - 10) & 1;
    }

    Fault_L_line_status = burst_response_arr[(10 - 1) * 5 + 2] >> 7 & 1;
    GPOon[9] = burst_response_arr[(10 - 1) * 5 + 2] >> 6 & 1;
    GPOon[8] = burst_response_arr[(10 - 1) * 5 + 2] >> 5 & 1;
    GPOon[7] = burst_response_arr[(10 - 1) * 5 + 2] >> 4 & 1;

    for (int i = 13; i > 9; i--) {
        GPOshort[i - 4] = burst_response_arr[(10 - 1) * 5 + 2] >> (i - 10) & 1;
    }
    GPOshort[5] = burst_response_arr[(10 - 1) * 5 + 3] >> 7 & 1;
    GPOshort[4] = burst_response_arr[(10 - 1) * 5 + 3] >> 6 & 1;
    GPOshort[3] = burst_response_arr[(10 - 1) * 5 + 3] >> 5 & 1;

    HeartBeat_fault = burst_response_arr[(11 - 1) * 5 + 2] >> 7 & 1;
    FaultHline_fault = burst_response_arr[(11 - 1) * 5 + 2] >> 6 & 1;
    FaultH_EN = burst_response_arr[(11 - 1) * 5 + 2] >> 5 & 1;
    HeartBeat_En = burst_response_arr[(11 - 1) * 5 + 2] >> 4 & 1;

    MUX_BIST_FAIL = (((burst_response_arr[(11 - 1) * 5 + 4] >> 6) & 0b00000011) | (burst_response_arr[(11 - 1) * 5 + 3] << 2)) | ((burst_response_arr[(11 - 1) * 5 + 2] & 0b00001111) << 8);

    GPIO_BIST_FAIL = ((burst_response_arr[(10 - 1) * 5 + 4] >> 6) & 0b00000011) | ((burst_response_arr[(11 - 1) * 5 + 3] & 0b00011111) << 2);

    curr_sense_ovc_sleep = burst_response_arr[(12 - 1) * 5 + 2] >> 7 & 1;
    HeartBeatCycle = burst_response_arr[(12 - 1) * 5 + 2] >> 4 & 0b00000111;
    BIST_BAL_COMP_HS_FAIL = ((burst_response_arr[(12 - 1) * 5 + 2] & 0b00001111) << 3) | ((burst_response_arr[(12 - 1) * 5 + 3] >> 5) & 0b00000111);
    BIST_BAL_COMP_LS_FAIL = ((burst_response_arr[(12 - 1) * 5 + 3] & 0b00011111) << 2) | (burst_response_arr[(12 - 1) * 5 + 4] >> 6);

    curr_sense_ovc_norm = burst_response_arr[(13 - 1) * 5 + 2] >> 7 & 1;
    OSCFail = burst_response_arr[(13 - 1) * 5 + 2] >> 6 & 1;
    clk_mon_en = burst_response_arr[(13 - 1) * 5 + 2] >> 5 & 1;
    clk_mon_init_done = burst_response_arr[(13 - 1) * 5 + 2] >> 4 & 1;

    OPEN_BIST_FAIL = (((burst_response_arr[(13 - 1) * 5 + 3] & 0b00001111) << 8) | (burst_response_arr[(13 - 1) * 5 + 3] << 2)) | (burst_response_arr[(13 - 1) * 5 + 4] >> 6);

}

void readBurst0x7B()
{
	uint8_t command_data_arr[5]; //initial burst command data to be sent by MCU, 8 bit array form
	uint64_t command_data = 0; //initial burst command data to be sent by MCU
	uint8_t nofFrames = 14; //number of frames received from burst command
	uint8_t data_burst_arr[nofFrames*5]; //dummy data sent by MCU during burst frame receival
	for(int i=0;i<nofFrames*5;i++) data_burst_arr[i]=0; //all zeroes as per manufacturer documentation
	data_burst_arr[nofFrames*5-5]=0b10000010;
	data_burst_arr[nofFrames*5-4]=0b00000100;
	data_burst_arr[nofFrames*5-3]=0b00000000;
	data_burst_arr[nofFrames*5-2]=0b00000000;
	data_burst_arr[nofFrames*5-1]=0b00010111;
	uint8_t burst_response_arr[nofFrames*5]; // data received by MCU during burst response

	char PA[2] = "1"; // 0 = MISO answer ; 1 = MOSI command
    char RW[2] = "0"; // 0 = read ; 1 = write
    char DevID[6] = "00001";
	char Addr[8] = "1111011"; 	// 0x7B burst command
	char GSW[3] = "00"; // 0x = ok ; 1x = internal failure detected
	char data[19] = "111111111111111111";
	char CRC_code[7] = "000000";
	char frame[41];

	strcpy(frame, PA);
	strcat(frame,RW);
	strcat(frame,DevID);
	strcat(frame,Addr);
	strcat(frame,GSW);
	strcat(frame,data);
	strcat(frame,CRC_code);

    //convert char array to 8 bit number array:
    for (int i=4;i>=0;i--){
    	command_data_arr[i]=0;
    	for(int j=7;j>=0;j--){
    		command_data_arr[i]=command_data_arr[i] + (frame[i*8+j]-48)*pow(2,7-j);
    	}
    }
    //convert char array to number:
    for (int i=39;i>=0;i--){
    	command_data = command_data + (frame[i]-48)*pow(2,39-i);
    }

    L9963_CrcCalc8bitLookupTab(&command_data); //compute CRC for command
    command_data_arr[4]=command_data_arr[4] | (uint8_t)(command_data & 0b00111111);

    uint8_t nOfTrials=0;
    TRANSACTION: //for goto instruction in case there is a problem with sent/received data
	nOfTrials+=1;

    HAL_GPIO_WritePin(GPIOB, GPIO_PIN_13, GPIO_PIN_RESET); // NCS low
    status = HAL_SPI_TransmitReceive(&hspi2, command_data_arr, response_arr, 5, HAL_MAX_DELAY);
    while(HAL_SPI_GetState(&hspi2) != HAL_SPI_STATE_READY){};	//wait for transaction to end
    HAL_GPIO_WritePin(GPIOB, GPIO_PIN_13, GPIO_PIN_SET); // NCS High

    HAL_Delay(4);

    HAL_GPIO_WritePin(GPIOB, GPIO_PIN_13, GPIO_PIN_RESET); // NCS low
    status = HAL_SPI_TransmitReceive(&hspi2, data_burst_arr, burst_response_arr, nofFrames*5, HAL_MAX_DELAY);
    while(HAL_SPI_GetState(&hspi2) != HAL_SPI_STATE_READY){};	//wait for transaction to end
    HAL_GPIO_WritePin(GPIOB, GPIO_PIN_13, GPIO_PIN_SET); // NCS High

    uint64_t frame_check = ((uint64_t)burst_response_arr[0]<<32) | ((uint64_t)burst_response_arr[1]<<24)|
    					   ((uint64_t)burst_response_arr[2]<<16) | ((uint64_t)burst_response_arr[3]<<8) | (uint64_t)burst_response_arr[4];

    //check first frame (for special frames - documentation 4.2.4.4)
    if((frame_check == 0xC1FCFFFD08 || //CRC error frame
        frame_check == 0xC1FCFFFCDE || //Busy frame
	    frame_check == 0xC1FCFFFC87 || //Timeout frame
	   frame_check == 0xC1FCFFFC6C) && //Not Expected frame
       nOfTrials<10)
    goto TRANSACTION; //repeat process in case of error

    //check CRC for every frame from burst response:
    for(int i=0; i<nofFrames; i++){
    	frame_check = ((uint64_t)burst_response_arr[0]<<32) | ((uint64_t)burst_response_arr[1]<<24)|
    	    		  ((uint64_t)burst_response_arr[2]<<16) | ((uint64_t)burst_response_arr[3]<<8) | (uint64_t)burst_response_arr[4];
    	if(L9963_CrcVer8bitLookupTab(&frame_check)==0 && nOfTrials<10) goto TRANSACTION; //repeat process in case of error
    }

    /*
    "burst_response_arr" is an 8bit array containing all the burst_response_arr received from a burst command,
    stored as bytes one after the other
    example: 0x7B command --> 14 burst_response_arr response --> 560 bits/70 bytes
            frame 1: burst_response_arr[0] --> burst_response_arr[4]
            frame 1 actual data: burst_response_arr[2] (bit 17->bit 10), burst_response_arr[3] (bit 9->bit 2),
                                 first 2 MSB's of burst_response_arr[4] (bit 1->bit 0)
            frame 2: burst_response_arr[5] --> burst_response_arr[9]
            frame 2 actual data: burst_response_arr[7], burst_response_arr[8], first 2 MSB's of burst_response_arr[9]
            .
            .
            .
            frame 15: burst_response_arr[65] --> burst_response_arr[69]
            frame 18 actual data: frame[67],frame[68], first 2 MSB's of burst_response_arr[69]
    */

    //frame1 0-4
     CoulombCounter_en = burst_response_arr[2] >> 7;
    CoCouOvF = (burst_response_arr[2] >> 6) & 1;

    CoulombCntTime= (((burst_response_arr[(1-1)*5+2] & 0b00111111) << 8) | burst_response_arr[(1-1)*5+3]) << 2
                    | (burst_response_arr[(1-1)*5+4]>>6);

     //frame2 5-9
      sense_plus_open = burst_response_arr[(2-1)*5+2] >> 7;
    sense_minus_open = (burst_response_arr[(2-1)*5+2] >> 6) & 1;
    CoulombCounter_msb= (((burst_response_arr[(2-1)*5+2] & 0b00111111) << 8) | burst_response_arr[(2-1)*5+3]) << 2
                    | (burst_response_arr[(2-1)*5+4]>>6);
     //frame3 10-14
    curr_sense_ovc_sleep = burst_response_arr[(3-1)*5+2] >> 7;
    curr_sense_ovc_norm = (burst_response_arr[(3-1)*5+2] >> 6) & 1;

    CoulombCounter_lsb= (((burst_response_arr[(3-1)*5+2] & 0b00111111) << 8) | burst_response_arr[(3-1)*5+3]) << 2
                    | (burst_response_arr[(3-1)*5+4]>>6);

     //frame4 15-19
    CUR_INST_synch = (((burst_response_arr[(4-1)*5+2] << 8) | (burst_response_arr[(4-1)*5+3]) << 2) | burst_response_arr[(4-1)*5+4]>>6);
     //frame5 20-24
    CUR_INST_calib = (((burst_response_arr[(5-1)*5+2] << 8) | (burst_response_arr[(5-1)*5+3]) << 2) | burst_response_arr[(5-1)*5+4]>>6);

     //frame6 25-29
     GPIO3_OT = burst_response_arr[(6-1)*5+2] >> 7;
     d_rdy_gpio3 = (burst_response_arr[(6-1)*5+2] >> 6) & 1;

     GPIO3_MEAS= (((burst_response_arr[(6-1)*5+2] & 0b00111111) << 8) | burst_response_arr[(6-1)*5+3]) << 2
                    | (burst_response_arr[(6-1)*5+4]>>6);
     //frame7 30-34
     GPIO4_OT = burst_response_arr[(7-1)*5+2] >> 7;
     d_rdy_gpio4 = (burst_response_arr[(7-1)*5+2] >> 6) & 1;

     GPIO4_MEAS= (((burst_response_arr[(7-1)*5+2] & 0b00111111) << 8) | burst_response_arr[(7-1)*5+3]) << 2
                    | (burst_response_arr[(7-1)*5+4]>>6);

     //frame8 35-39
     GPIO5_OT = burst_response_arr[(8-1)*5+2] >> 7;
     d_rdy_gpio5 = (burst_response_arr[(8-1)*5+2] >> 6) & 1;
     GPIO5_MEAS= (((burst_response_arr[(8-1)*5+2] & 0b00111111) << 8) | burst_response_arr[(8-1)*5+3]) << 2
                    | (burst_response_arr[(8-1)*5+4]>>6);

     //frame9 40-44
     GPIO6_OT = burst_response_arr[(9-1)*5+2] >> 7;
     d_rdy_gpio6 =(burst_response_arr[(9-1)*5+2] >> 6) & 1;
     GPIO6_MEAS= (((burst_response_arr[(9-1)*5+2] & 0b00111111) << 8) | burst_response_arr[(9-1)*5+3]) << 2
                    | (burst_response_arr[(9-1)*5+4]>>6);

     //frame10 45-49
     GPIO7_OT = burst_response_arr[(10-1)*5+2] >> 7;
     d_rdy_gpio7 =(burst_response_arr[(10-1)*5+2] >> 6) & 1;
     GPIO7_MEAS= (((burst_response_arr[(10-1)*5+2] & 0b00111111) << 8) | burst_response_arr[(10-1)*5+3]) << 2
                    | (burst_response_arr[(10-1)*5+4]>>6);

     //frame11 50-54
     GPIO8_OT = burst_response_arr[(11-1)*5+2] >> 7;
     d_rdy_gpio8 = (burst_response_arr[(11-1)*5+2] >> 6) & 1;
     GPIO8_MEAS= (((burst_response_arr[(11-1)*5+2] & 0b00111111) << 8) | burst_response_arr[(11-1)*5+3]) << 2
                    | (burst_response_arr[(11-1)*5+4]>>6);

    //frame12 55-59
     GPIO9_OT = burst_response_arr[(12-1)*5+2] >> 7;
     d_rdy_gpio9 =( burst_response_arr[(12-1)*5+2] >> 6) & 1;
     GPIO9_MEAS= (((burst_response_arr[(12-1)*5+2] & 0b00111111) << 8) | burst_response_arr[(12-1)*5+3]) << 2
                    | (burst_response_arr[(12-1)*5+4]>>6);

     //frame13 60-64
       TrimmCalOk = burst_response_arr[(13-1)*5+2] >> 7;
     d_rdy_vtref = (burst_response_arr[(13-1)*5+2] >> 6) & 1;
     VTREF_MEAS= (((burst_response_arr[(13-1)*5+2] & 0b00111111) << 8) | burst_response_arr[(13-1)*5+3]) << 2
                    | (burst_response_arr[(13-1)*5+4]>>6);

     //frame14 65-69

      GPIO3_UT= burst_response_arr[(14-1)*5+2] >>7;

      GPIO4_UT = (burst_response_arr[(14-1)*5+2] >> 6) & 1;
      GPIO5_UT = (burst_response_arr[(14-1)*5+2] >> 5) & 1;
      GPIO6_UT = (burst_response_arr[(14-1)*5+2] >> 4) & 1;
      GPIO7_UT = (burst_response_arr[(14-1)*5+2] >> 3) & 1;
      GPIO8_UT = (burst_response_arr[(14-1)*5+2] >> 2) & 1;
      GPIO9_UT = (burst_response_arr[(14-1)*5+2] >> 1) & 1;
      bal_on  = burst_response_arr[(14-1)*5+2]  & 1;
      eof_bal = burst_response_arr[(14-1)*5+3] >> 7;
      OTchip = (burst_response_arr[(14-1)*5+3] >> 6) & 1;
      TempChip =(((burst_response_arr[(14-1)*5+3]) << 2) | (burst_response_arr[(14-1)*5+4]>>6));

}

// ****************************************************************************
// Name:        L9963_CrcCalc8bitLookupTab
// Parameters:
//              uint64_t * pointer to frame
// Returns:
//               none
// Description:
//              CRC calculation based on precalculated 8bits table
//              FRAME_LENGTH  40 (could not be changed)
//              CRC_LENGTH     6 (could not be changed)
//              POLYNOM     0x59 (if changed the crcTable must be recalculated)
//              seed value is defined by  SEED_VALUE
// ****************************************************************************
void L9963_CrcCalc8bitLookupTab (uint64_t * frame){

    const uint8_t * crcTable_p = crcTable;
    uint8_t dataout;
    *frame &= (uint64_t)0xFFFFFFFFFF<<CRC_LENGTH;
    uint8_t tabPointer = (uint8_t)((*frame>>(4*8)) ^ ((uint32_t)SEED_VALUE<<2)); //highest 8bits (bit 32..39)
    dataout =  crcTable_p[tabPointer];

    tabPointer =  (uint8_t)((uint32_t)dataout ^ (((uint32_t)*frame)>>(3*8)));   //next  8bits (bit 24..31);
    dataout =  crcTable_p[tabPointer];

    tabPointer =  (uint8_t)((uint32_t)dataout ^ (((uint32_t)*frame)>>(2*8)));   //next  8bits (bit 16..23);
    dataout =  crcTable_p[tabPointer];

    tabPointer =  (uint8_t)((uint32_t)dataout ^ (((uint32_t)*frame)>>(1*8)));   //next  8bits (bit 8..15);
    dataout =  crcTable_p[tabPointer];

    dataout =  (uint8_t)((uint32_t)dataout ^ ((uint32_t)*frame));          //next  8bits (bit 0..7);

    if(0x80 & dataout ){                     //bit 7
        dataout = dataout ^ POLYNOM<<1;
    }
    if(0x40 & dataout ){                     //last bit 6, so the rest is bit 0..5
        dataout = dataout ^ POLYNOM;
    }
    *frame |= (uint64_t)dataout;
}

// ****************************************************************************
// Name:        L9963_CrcVer
// Parameters:
//              uint64_t * pointer to frame
// Returns:
//               0 - If CRC is Valid
//               1 - Wrong CRC
// Description:
//              CRC calculation based on precalculated 8bits table
//              FRAME_LENGTH  40 (could not be changed)
//              CRC_LENGTH     6 (could not be changed)
//              POLYNOM     0x59 (if changed the crcTable must be recalculated)
//              seed value is defined by  SEED_VALUE
// ****************************************************************************
uint16_t L9963_CrcVer8bitLookupTab (uint64_t * frame){
    const uint8_t * crcTable_p = crcTable;
    uint8_t dataout;
    uint8_t tabPointer = (uint8_t)((*frame>>(4*8)) ^ ((uint32_t)SEED_VALUE<<2)); //highest 8bits (bit 32..39)
    dataout =  crcTable_p[tabPointer];

    tabPointer =  (uint8_t)((uint32_t)dataout ^ (((uint32_t)*frame)>>(3*8)));   //next  8bits (bit 24..31);
    dataout =  crcTable_p[tabPointer];

    tabPointer =  (uint8_t)((uint32_t)dataout ^ (((uint32_t)*frame)>>(2*8)));   //next  8bits (bit 16..23);
    dataout =  crcTable_p[tabPointer];

    tabPointer =  (uint8_t)((uint32_t)dataout ^ (((uint32_t)*frame)>>(1*8)));   //next  8bits (bit 8..15);
    dataout =  crcTable_p[tabPointer];

    dataout =  (uint8_t)((uint32_t)dataout ^ ((uint32_t)*frame));          //next  8bits (bit 0..7);

    if(0x80 & dataout ){                     //bit 7
        dataout = dataout ^ POLYNOM<<1;
    }
    if(0x40 & dataout ){                     //last bit 6, so the rest is bit 0..5
        dataout = dataout ^ POLYNOM;
    }
    if(0 == dataout){
        return 0;
    }
    else{
        return 1;
    }
}

void balanceCells(){
	uint8_t activeCells=0;
	for(int i=1;i<=14;i++)
		activeCells+=VCELL_EN[i]; //acquire number of active cells
	uint8_t voltagesAscOrder[activeCells]; //cell voltages in ascending order
	uint8_t cells_VoltageAscOrder[activeCells]; //cell indexes in ascending order of voltage
	uint8_t balanceFlag[15]={0};

	//gather active cell indexes and their respective voltages:
	int j=0;
	for(int i=1;i<=14;i++){
		if(VCELL_EN[i]==1){
			voltagesAscOrder[j]=VCell[i];
			cells_VoltageAscOrder[j]=i;
			j++;
		}
	}

	//sort the 2 arrays in ascending order of voltage:
	for(int i=0;i<activeCells;i++){
		for(j=i+1;j<activeCells-1;j++){
			if(voltagesAscOrder[i]>voltagesAscOrder[j]){
				uint8_t aux = voltagesAscOrder[i];
				voltagesAscOrder[i] = voltagesAscOrder[j];
				voltagesAscOrder[j] = aux;

				cells_VoltageAscOrder[i]=j;
				cells_VoltageAscOrder[j]=i;
			}
		}
	}

	//determine which cells need balancing and set flags:
	uint8_t minV = voltagesAscOrder[0];
	uint8_t cell_minV=cells_VoltageAscOrder[0];
    balanceFlag[cell_minV]=0;

	uint8_t voltage_diff;
	uint8_t diff_threshold=0.01;
	uint8_t cell_index;
	for(int i=1;i<activeCells;i++){
		cell_index=cells_VoltageAscOrder[i];
		voltage_diff = VCell[cell_index] - minV;
		if(voltage_diff>=diff_threshold){
			balanceFlag[cell_index]=1;
		}
	}

	//send commands to flag cells for balancing inside L9963
	char command_BalCell14_7act[19]="00"; // configuration for register 0x10
	char command_BalCell6_1act[19]="00"; //configuration for register 0x11
	for(int i=14;i>=7;i--){
		if(balanceFlag[i]==1)
			strcat(command_BalCell14_7act,"10");
		else
			strcat(command_BalCell14_7act,"00");
	}

	for(int i=6;i>=1;i--){
		if(balanceFlag[i]==1)
			strcat(command_BalCell6_1act,"10");
		else
			strcat(command_BalCell6_1act,"00");
	}

	singleFrameTransaction("1","1","00001","00010000","00",command_BalCell14_7act,false);
	singleFrameTransaction("1","1","00001","00010001","00",command_BalCell6_1act,false);

	//configure balance time window for each cell:

	//start balancing:

}

/* USER CODE END 4 */

void Error_Handler(void)
{
  __disable_irq();
  while (1)
  {
  }
}

/************************ (C) COPYRIGHT STMicroelectronics *****END OF FILE****/
